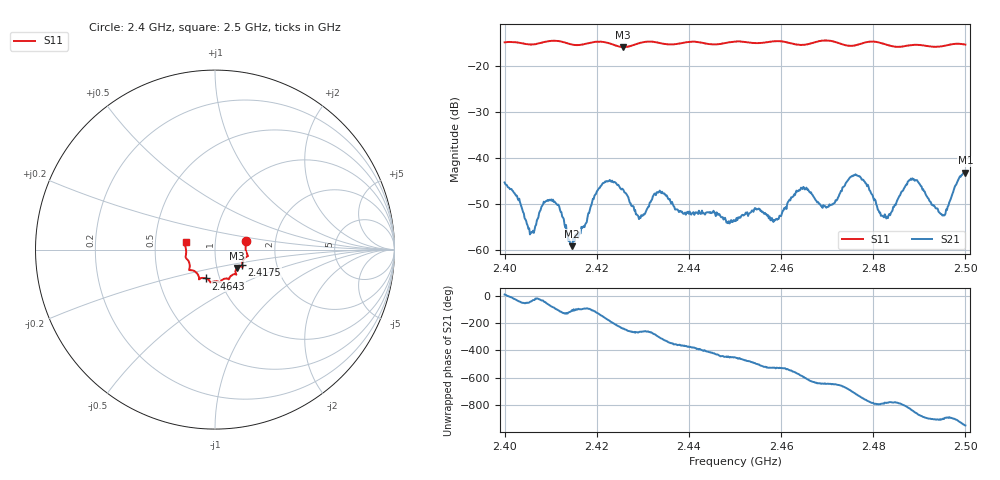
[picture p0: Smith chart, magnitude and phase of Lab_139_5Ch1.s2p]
# Hz S RI R 50
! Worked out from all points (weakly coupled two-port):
!   601 points, 2.4 GHz to 2.5 GHz, reference 50 ohm
!   highest |S21| = -43.13 dB at 2.5 GHz (marker M1); lowest = -59.1 dB at 2.4147 GHz (marker M2)
!   lowest |S11| = -15.9 dB at 2.4257 GHz (marker M3), VSWR 1.38, Z = 62.5 - j13.1 ohm
!   |S11| at or under -10 dB: start of sweep to end of sweep
!   S12 and S22 are empty: the file has one direction only
!   S11 on the Smith chart (normalised r, x): 2.4 GHz: 1.41, +0.14; 2.4175 GHz: 1.33, -0.23; 2.4643 GHz: 0.86, -0.29; 2.5 GHz: 0.72, +0.06
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2.4e9  0.173 0.0485  0.00541 0.000715  0 0  0 0
2.405667e9  0.1703 0.00646  0.00112 -0.00106  0 0  0 0
2.410333e9  0.1835 -0.0342  0.00043 -0.0034  0 0  0 0
2.414667e9  0.162 -0.0516  -0.000307 -0.00107  0 0  0 0
2.416667e9  0.1523 -0.0739  -0.000318 -0.00177  0 0  0 0
2.4175e9  0.1513 -0.0835  -0.000193 -0.00191  0 0  0 0
2.421333e9  0.1539 -0.0968  -0.00478 -0.00244  0 0  0 0
2.425667e9  0.1229 -0.1018  -0.00216 0.00407  0 0  0 0
2.429333e9  0.1156 -0.1338  -0.000215 0.00227  0 0  0 0
2.433333e9  0.1137 -0.1372  0.00208 0.00369  0 0  0 0
2.438833e9  0.0799 -0.1589  0.00247 -0.000341  0 0  0 0
2.45e9  0.028 -0.1814  -7.18e-05 -0.00213  0 0  0 0
2.454833e9  0.00379 -0.1762  -0.00215 -0.00179  0 0  0 0
2.458833e9  -0.0225 -0.1837  -0.00215 -0.000297  0 0  0 0
2.464333e9  -0.05 -0.1608  -0.00337 0.00341  0 0  0 0
2.466667e9  -0.0764 -0.1587  -0.000168 0.00407  0 0  0 0
2.470333e9  -0.0887 -0.1653  0.000782 0.00288  0 0  0 0
2.4765e9  -0.1216 -0.1167  0.00649 -0.000514  0 0  0 0
2.483333e9  -0.1406 -0.0898  0.00114 -0.00211  0 0  0 0
2.488333e9  -0.1613 -0.0472  -0.00259 -0.00523  0 0  0 0
2.495167e9  -0.1634 0.0122  -0.00242 -2.88e-05  0 0  0 0
2.5e9  -0.1643 0.0432  -0.00455 0.00529  0 0  0 0
